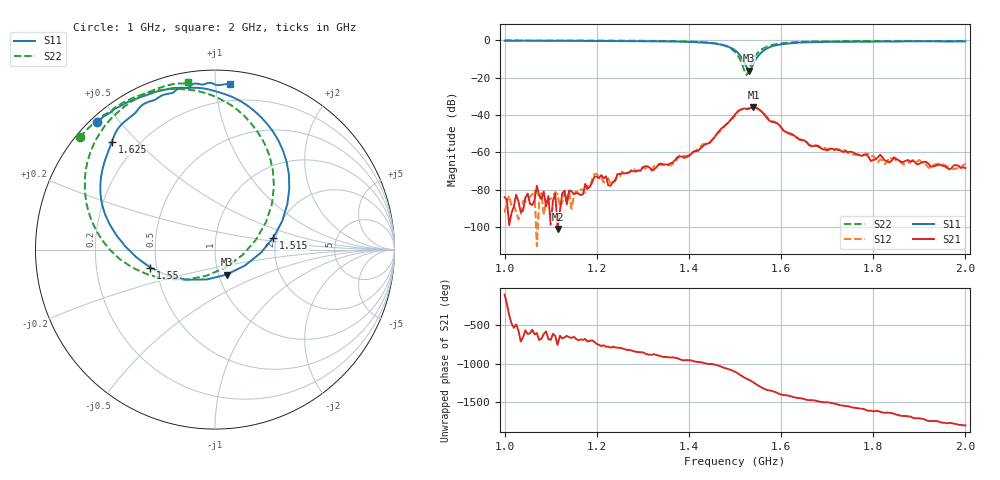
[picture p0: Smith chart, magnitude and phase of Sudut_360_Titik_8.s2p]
# Hz S RI R 50
! CMT, C1220, 16058040, 17.2.0/1
! Date: 14/08/2018 12:09:45
! Data: Format (Calibration Info)
! Freq  S11: Re/Im (F2)  S21: Re/Im (F2)  S12: Re/Im (F2)  S22: Re/Im (F2)
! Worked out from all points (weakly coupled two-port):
!   201 points, 1 GHz to 2 GHz, reference 50 ohm
!   highest |S21| = -35.93 dB at 1.54 GHz (marker M1); lowest = -101.0 dB at 1.115 GHz (marker M2)
!   lowest |S11| = -16.3 dB at 1.53 GHz (marker M3), VSWR 1.36, Z = 54.6 - j15.6 ohm
!   |S11| at or under -10 dB: 1.516 GHz to 1.546 GHz (30.14 MHz wide, 1.97 % of centre)
!   |S22| runs from -18.7 to -0.2 dB; largest |S21 - S12| = 0.00072
!   S11 on the Smith chart (normalised r, x): 1 GHz: 0.02, +0.44; 1.515 GHz: 1.94, +0.29; 1.55 GHz: 0.46, -0.11; 1.625 GHz: 0.11, +0.42; 2 GHz: 0.09, +1.09
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1e9  -0.655 0.7097  -1.17e-05 -6.19e-05  -1.6e-05 -1.8e-05  -0.7535 0.6256
1.115e9  -0.5472 0.7896  7.21e-06 -5.25e-06  4.97e-05 5.62e-05  -0.6678 0.711
1.17e9  -0.4873 0.8217  6.43e-05 3.85e-05  5.12e-05 8.4e-05  -0.6165 0.7515
1.185e9  -0.4638 0.8308  0.000111 4.15e-05  0.000113 -1.87e-08  -0.5992 0.7609
1.195e9  -0.4508 0.8356  0.000224 1.52e-05  0.00026 1.33e-05  -0.5869 0.7647
1.23e9  -0.4085 0.8514  4.38e-05 -0.00012  5.03e-05 -0.000134  -0.5605 0.7886
1.245e9  -0.379 0.8614  8.6e-05 -0.000249  9.45e-05 -0.000207  -0.5423 0.8006
1.335e9  -0.2307 0.9002  -0.000478 -5.46e-05  -0.000453 1.47e-05  -0.3998 0.8661
1.45e9  0.1714 0.8088  0.000421 0.00208  0.000646 0.00201  0.0239 0.8414
1.5e9  0.414 0.3399  0.00938 -0.00377  0.0088 -0.00351  0.3284 0.3524
1.515e9  0.3251 0.0663  0.00317 -0.0138  0.00353 -0.0138  0.2292 0.0561
1.525e9  0.1673 -0.0886  -0.00577 -0.0131  -0.00569 -0.0134  0.0588 -0.0999
1.53e9  0.0651 -0.1391  -0.00864 -0.012  -0.00865 -0.0121  -0.0493 -0.1465
1.54e9  -0.1578 -0.1677  -0.0151 -0.00535  -0.0149 -0.00538  -0.2731 -0.1642
1.55e9  -0.3605 -0.0999  -0.0136 0.00511  -0.0138 0.00452  -0.4586 -0.1013
1.58e9  -0.6307 0.2573  0.000156 0.00649  0.000384 0.00678  -0.7064 0.216
1.625e9  -0.5749 0.5991  0.00295 0.0006  0.0028 0.000675  -0.7013 0.5209
1.67e9  -0.4625 0.7458  0.00124 -0.000791  0.00133 -0.000867  -0.6253 0.6733
1.825e9  -0.1789 0.9013  -0.000583 0.00015  -0.000469 0.000121  -0.389 0.868
1.835e9  -0.1611 0.8991  -0.00051 0.000148  -0.000695 0.000261  -0.3757 0.8747
1.925e9  -0.0344 0.9289  0.000224 0.00035  0.000154 0.000347  -0.2495 0.9186
2e9  0.0852 0.9214  0.000378 3.11e-06  0.000492 -1.64e-05  -0.1509 0.9335
